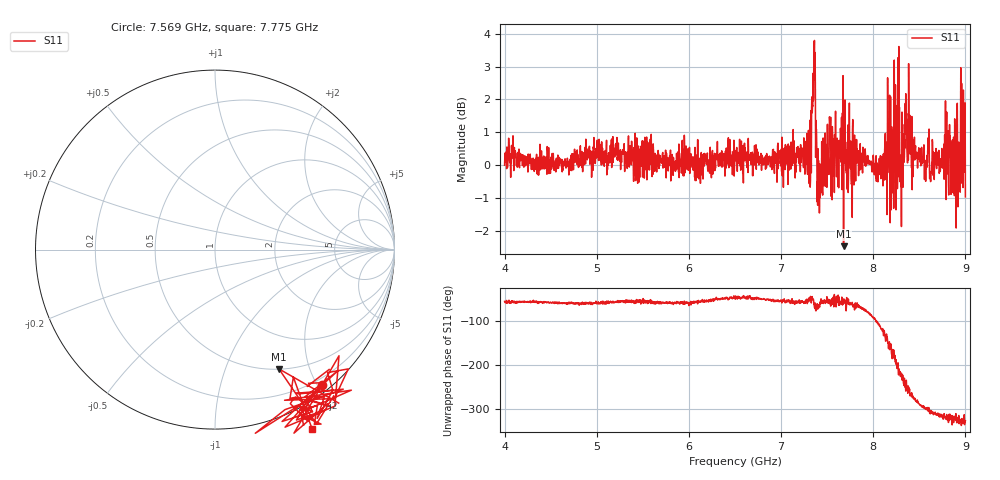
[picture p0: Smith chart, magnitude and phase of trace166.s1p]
! Created with skrf 1.8.0 (http://scikit-rf.org).
# Hz S RI R 50.0
!freq ReS11 ImS11
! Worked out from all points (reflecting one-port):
!   1601 points, 4 GHz to 9 GHz, reference 50 ohm
!   lowest |S11| = -2.5 dB at 7.678 GHz (marker M1), VSWR 7.13, Z = 25.2 - j77.6 ohm
!   phase of S11 starts at -56 deg and turns -271 deg over the sweep
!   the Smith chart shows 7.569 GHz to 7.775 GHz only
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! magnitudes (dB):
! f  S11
! 4 GHz  0.0
! 4.625 GHz  -0.2
! 5.25 GHz  0.1
! 5.875 GHz  0.1
! 6.5 GHz  0.3
! 7.125 GHz  0.3
! 7.294 GHz  0.1
! 7.328 GHz  -0.2
! 7.347 GHz  2.8
! 7.366 GHz  2.6
! 7.397 GHz  -1.2
! 7.412 GHz  0.1
! 7.512 GHz  0.3
! 7.678 GHz  -2.5
! 7.75 GHz  0.5
! 8.05 GHz  -0.5
! 8.156 GHz  2.7
! 8.209 GHz  -0.8
! 8.253 GHz  1.2
! 8.312 GHz  1.6
! 8.338 GHz  0.3
! 8.375 GHz  1.3
! 8.447 GHz  0.9
! 8.638 GHz  0.1
! 8.788 GHz  -0.7
! 8.881 GHz  -0.9
! 8.972 GHz  0.1
! 9 GHz  -1.0
